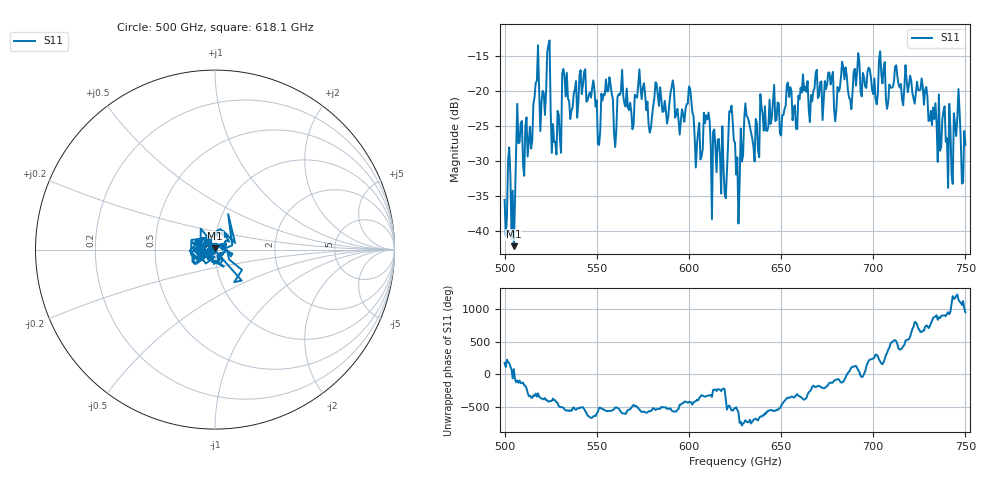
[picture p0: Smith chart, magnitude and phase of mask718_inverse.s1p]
!Created with skrf (http://scikit-rf.org).
# GHz S MA R 50.0
!freq magS11 angS11
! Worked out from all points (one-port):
!   401 points, 500 GHz to 750 GHz, reference 50 ohm
!   lowest |S11| = -42.2 dB at 505 GHz (marker M1), VSWR 1.02, Z = 50.1 + j0.767 ohm
!   |S11| at or under -10 dB: start of sweep to end of sweep
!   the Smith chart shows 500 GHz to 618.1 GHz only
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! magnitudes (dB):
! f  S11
! 500 GHz  -35.6
! 505 GHz  -42.2
! 507.5 GHz  -27.5
! 513.8 GHz  -25.2
! 517.5 GHz  -18.6
! 520.6 GHz  -20.0
! 523.8 GHz  -13.5
! 526.9 GHz  -27.3
! 531.2 GHz  -17.6
! 542.5 GHz  -19.2
! 550.6 GHz  -27.6
! 562.5 GHz  -20.6
! 593.8 GHz  -22.6
! 600 GHz  -19.4
! 605 GHz  -25.9
! 609.4 GHz  -23.5
! 618.8 GHz  -30.8
! 622.5 GHz  -23.0
! 625 GHz  -27.4
! 626.2 GHz  -29.5
! 631.2 GHz  -23.6
! 636.9 GHz  -24.6
! 656.2 GHz  -24.2
! 680 GHz  -22.7
! 684.4 GHz  -18.4
! 687.5 GHz  -21.3
! 718.8 GHz  -20.2
! 750 GHz  -27.8
